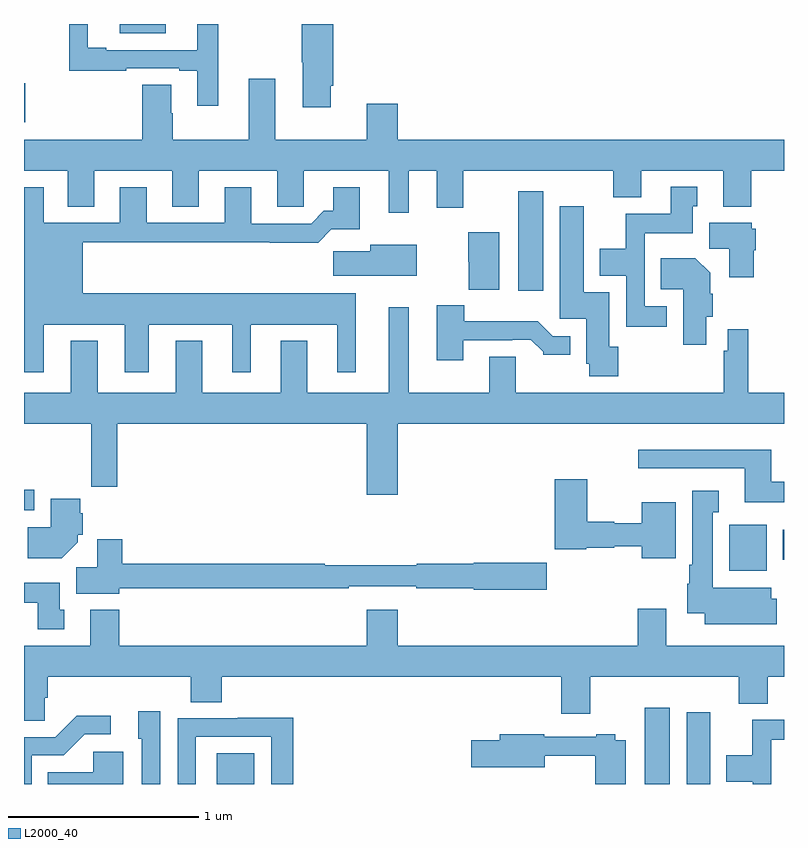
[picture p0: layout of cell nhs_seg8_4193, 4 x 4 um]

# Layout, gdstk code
import gdstk
lib = gdstk.Library(unit=1e-6, precision=1e-09)
def R(c, l, rs):  # rectangles x0, y0, x1, y1
    for r in rs: c.add(gdstk.rectangle(r[:2], r[2:], *l))
def P(c, l, *ps):  # polygons
    for p in ps: c.add(gdstk.Polygon(p, *l))
L2000_40 = (2000, 40)

nhs_seg8_4193 = lib.new_cell('nhs_seg8_4193')
R(nhs_seg8_4193, L2000_40, [(368.015,1151.9,368.212,1152.061), (370.268,1151.9,370.399,1152.301), (370.487,1151.9,370.612,1152.277), (370.712,1153.022,370.909,1153.264), (370.994,1153.081,371,1153.237), (367,1153.341,367.054,1153.45), (369.602,1154.496,369.733,1155.019), (367,1155.384,367.007,1155.587), (367.505,1155.851,367.747,1155.9)])
P(nhs_seg8_4193, L2000_40, [(368.614,1155.574),(368.627,1155.574),(368.627,1155.9),(368.461,1155.9),(368.461,1155.7),(368.468,1155.7),(368.468,1155.462),(368.614,1155.462)],
  [(368.023,1155.9),(367.913,1155.9),(367.913,1155.762),(367.432,1155.762),(367.432,1155.775),(367.336,1155.775),(367.336,1155.9),(367.237,1155.9),(367.237,1155.654),(367.538,1155.654),(367.538,1155.666),(367.817,1155.666),(367.817,1155.654),(367.913,1155.654),(367.913,1155.471),(368.023,1155.471)],
  [(369.025,1155.128),(369.173,1155.128),(369.173,1154.934),(369.313,1154.934),(369.313,1155.128),(370.102,1155.128),(370.102,1154.987),(370.249,1154.987),(370.249,1155.128),(370.679,1155.128),(370.679,1154.939),(370.827,1154.939),(370.827,1155.128),(371,1155.128),(371,1155.292),(368.968,1155.292),(368.968,1155.481),(368.804,1155.481),(368.804,1155.292),(368.323,1155.292),(368.323,1155.613),(368.183,1155.613),(368.183,1155.292),(367.782,1155.292),(367.782,1155.431),(367.774,1155.431),(367.774,1155.581),(367.622,1155.581),(367.622,1155.292),(367,1155.292),(367,1155.128),(367.229,1155.128),(367.229,1154.938),(367.369,1154.938),(367.369,1155.128),(367.781,1155.128),(367.781,1154.938),(367.921,1154.938),(367.921,1155.128),(368.333,1155.128),(368.333,1154.938),(368.472,1154.938),(368.472,1155.128),(368.921,1155.128),(368.921,1154.907),(369.025,1154.907)],
  [(370.384,1154.415),(370.266,1154.415),(370.266,1154.798),(370.519,1154.798),(370.519,1154.94),(370.543,1154.94),(370.543,1155.043),(370.403,1155.043),(370.403,1154.902),(370.168,1154.902),(370.168,1154.716),(370.031,1154.716),(370.031,1154.576),(370.17,1154.576),(370.17,1154.307),(370.384,1154.307)],
  [(367.105,1154.318),(367.529,1154.318),(367.529,1154.067),(367.657,1154.067),(367.657,1154.318),(368.096,1154.318),(368.096,1154.067),(368.194,1154.067),(368.194,1154.318),(368.648,1154.318),(368.648,1154.067),(368.746,1154.067),(368.746,1154.482),(367.309,1154.482),(367.309,1154.752),(368.293,1154.752),(368.293,1154.75),(368.549,1154.75),(368.618,1154.819),(368.767,1154.819),(368.767,1155.04),(368.627,1155.04),(368.627,1154.917),(368.578,1154.917),(368.511,1154.85),(368.197,1154.85),(368.197,1155.04),(368.057,1155.04),(368.057,1154.853),(367.645,1154.853),(367.645,1155.04),(367.505,1155.04),(367.505,1154.853),(367.105,1154.853),(367.105,1155.04),(367,1155.04),(367,1154.067),(367.105,1154.067)],
  [(370.128,1154.202),(370.081,1154.202),(370.081,1154.488),(369.946,1154.488),(369.946,1154.941),(369.821,1154.941),(369.821,1154.349),(369.959,1154.349),(369.959,1154.112),(369.976,1154.112),(369.976,1154.046),(370.128,1154.046)],
  [(370.842,1154.709),(370.852,1154.709),(370.852,1154.823),(370.83,1154.823),(370.83,1154.854),(370.607,1154.854),(370.607,1154.716),(370.712,1154.716),(370.712,1154.568),(370.842,1154.568)],
  [(369.502,1154.803),(369.338,1154.803),(369.338,1154.649),(369.34,1154.649),(369.34,1154.501),(369.502,1154.501)],
  [(369.067,1154.737),(368.822,1154.737),(368.822,1154.705),(368.628,1154.705),(368.628,1154.576),(369.067,1154.576)],
  [(370.591,1154.358),(370.625,1154.358),(370.625,1154.48),(370.612,1154.48),(370.612,1154.59),(370.534,1154.668),(370.351,1154.668),(370.351,1154.504),(370.469,1154.504),(370.469,1154.211),(370.591,1154.211)],
  [(369.313,1154.235),(369.569,1154.235),(369.569,1154.238),(369.668,1154.238),(369.732,1154.174),(369.732,1154.159),(369.874,1154.159),(369.874,1154.256),(369.783,1154.256),(369.705,1154.335),(369.316,1154.335),(369.316,1154.419),(369.173,1154.419),(369.173,1154.13),(369.313,1154.13)],
  [(368.968,1153.796),(371,1153.796),(371,1153.96),(370.813,1153.96),(370.813,1154.293),(370.704,1154.293),(370.704,1154.18),(370.684,1154.18),(370.684,1153.96),(369.589,1153.96),(369.589,1154.15),(369.449,1154.15),(369.449,1153.96),(369.025,1153.96),(369.025,1154.41),(368.921,1154.41),(368.921,1153.96),(368.491,1153.96),(368.491,1154.233),(368.351,1154.233),(368.351,1153.96),(367.939,1153.96),(367.939,1154.233),(367.799,1154.233),(367.799,1153.96),(367.387,1153.96),(367.387,1154.233),(367.247,1154.233),(367.247,1153.96),(367,1153.96),(367,1153.796),(367.354,1153.796),(367.354,1153.464),(367.49,1153.464),(367.49,1153.796),(368.804,1153.796),(368.804,1153.422),(368.968,1153.422)],
  [(371,1153.492),(370.933,1153.492),(370.933,1153.66),(370.233,1153.66),(370.233,1153.563),(370.793,1153.563),(370.793,1153.382),(371,1153.382)],
  [(370.429,1153.384),(370.25,1153.384),(370.25,1153.273),(370.107,1153.273),(370.107,1153.28),(369.964,1153.28),(369.964,1153.504),(369.794,1153.504),(369.794,1153.136),(369.96,1153.136),(369.96,1153.144),(370.107,1153.144),(370.107,1153.152),(370.25,1153.152),(370.25,1153.088),(370.429,1153.088)],
  [(370.963,1152.875),(370.933,1152.875),(370.933,1152.934),(370.624,1152.934),(370.624,1153.331),(370.657,1153.331),(370.657,1153.444),(370.517,1153.444),(370.517,1153.054),(370.502,1153.054),(370.502,1152.954),(370.49,1152.954),(370.49,1152.8),(370.583,1152.8),(370.583,1152.74),(370.963,1152.74)],
  [(367.282,1153.173),(367.282,1153.212),(367.308,1153.212),(367.308,1153.326),(367.295,1153.326),(367.295,1153.402),(367.142,1153.402),(367.142,1153.252),(367.021,1153.252),(367.021,1153.088),(367.198,1153.088)],
  [(367.5,1152.93),(368.708,1152.93),(368.708,1152.942),(369.064,1152.942),(369.064,1152.93),(369.366,1152.93),(369.366,1152.922),(369.751,1152.922),(369.751,1153.064),(369.366,1153.064),(369.366,1153.058),(369.066,1153.058),(369.066,1153.051),(368.583,1153.051),(368.583,1153.058),(367.517,1153.058),(367.517,1153.189),(367.385,1153.189),(367.385,1153.04),(367.274,1153.04),(367.274,1152.902),(367.5,1152.902)],
  [(367.213,1152.816),(367.189,1152.816),(367.189,1152.958),(367,1152.958),(367,1152.854),(367.073,1152.854),(367.073,1152.714),(367.213,1152.714)],
  [(367.11,1152.355),(367.124,1152.355),(367.124,1152.464),(367.877,1152.464),(367.877,1152.331),(368.042,1152.331),(368.042,1152.464),(369.827,1152.464),(369.827,1152.27),(369.979,1152.27),(369.979,1152.464),(370.763,1152.464),(370.763,1152.323),(370.915,1152.323),(370.915,1152.464),(371,1152.464),(371,1152.628),(370.381,1152.628),(370.381,1152.823),(370.229,1152.823),(370.229,1152.628),(368.968,1152.628),(368.968,1152.817),(368.804,1152.817),(368.804,1152.628),(367.502,1152.628),(367.502,1152.817),(367.349,1152.817),(367.349,1152.628),(367,1152.628),(367,1152.232),(367.11,1152.232)],
  [(367.716,1152.283),(367.601,1152.283),(367.601,1152.138),(367.62,1152.138),(367.62,1151.9),(367.716,1151.9)],
  [(367.041,1152.051),(367.21,1152.051),(367.321,1152.162),(367.456,1152.162),(367.456,1152.26),(367.277,1152.26),(367.164,1152.147),(367,1152.147),(367,1151.9),(367.041,1151.9)],
  [(367.905,1152.15),(368.301,1152.15),(368.301,1151.9),(368.417,1151.9),(368.417,1152.248),(368.125,1152.248),(368.125,1152.246),(367.809,1152.246),(367.809,1151.9),(367.905,1151.9)],
  [(370.932,1152.134),(371,1152.134),(371,1152.238),(370.834,1152.238),(370.834,1152.052),(370.697,1152.052),(370.697,1151.912),(370.836,1151.912),(370.836,1151.9),(370.932,1151.9)],
  [(370.168,1152.13),(370.113,1152.13),(370.113,1152.163),(370.013,1152.163),(370.013,1152.15),(369.738,1152.15),(369.738,1152.163),(369.503,1152.163),(369.503,1152.129),(369.354,1152.129),(369.354,1151.987),(369.742,1151.987),(369.742,1152.049),(370.006,1152.049),(370.006,1151.9),(370.168,1151.9)],
  [(367.522,1152.07),(367.365,1152.07),(367.365,1151.962),(367.126,1151.962),(367.126,1151.9),(367.522,1151.9)])

lib.write_gds('nhs_seg8_4193.gds')
